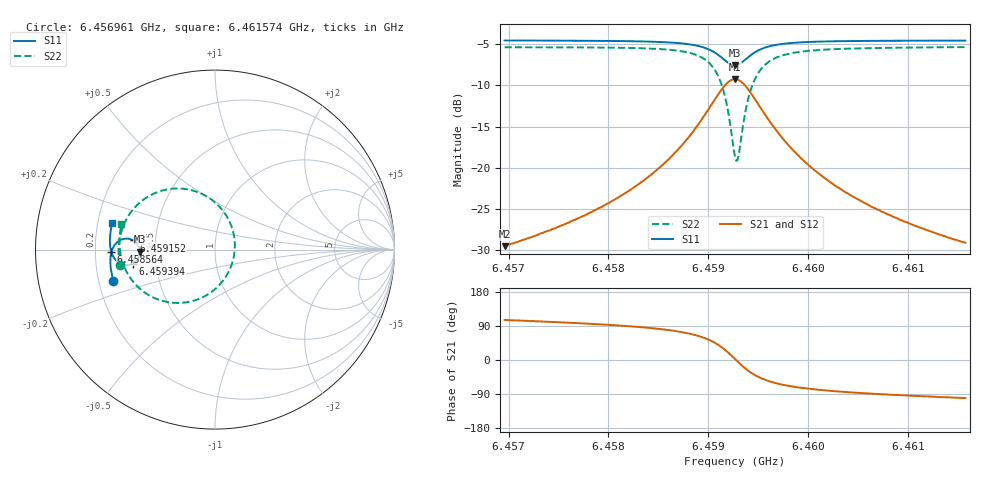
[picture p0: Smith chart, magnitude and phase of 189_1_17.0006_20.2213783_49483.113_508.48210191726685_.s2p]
#  HZ  S  RI  R  50.00
! Rohde & Schwarz Vector Network Analyzer
! Rohde-Schwarz,ZNB20-2Port,1311601062101988,3.16
! Created: UTC 3/20/2024, 11:00:28 PM
! freq[Hz]  re:S11  im:S11  re:S21  im:S21  re:S12  im:S12  re:S22  im:S22
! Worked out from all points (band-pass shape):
!   401 points, 6.456961 GHz to 6.461574 GHz, reference 50 ohm
!   highest |S21| = -9.25 dB at 6.459268 GHz (marker M1); lowest = -29.5 dB at 6.456961 GHz (marker M2)
!   |S21| within 3 dB of the highest: 6.459037 GHz to 6.459498 GHz (461.3 kHz wide, 0.00714 % of centre)
!   lowest |S11| = -7.6 dB at 6.459268 GHz (marker M3), VSWR 2.44, Z = 20.5 - j0.597 ohm
!   |S11| at or under -10 dB: nowhere
!   |S22| runs from -19.2 to -5.4 dB; largest |S21 - S12| = 0.013
!   S11 on the Smith chart (normalised r, x): 6.456961 GHz: 0.26, -0.14; 6.458564 GHz: 0.27, -0.01; 6.459152 GHz: 0.37, +0.05; 6.459394 GHz: 0.37, -0.07; 6.461574 GHz: 0.26, +0.12
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6.4569607e9  -0.5658 -0.1747  -0.00904 0.0322  -0.00738 0.0323  -0.5311 -0.0886
6.4577335e9  -0.5802 -0.1073  -0.00591 0.0501  -0.00329 0.0496  -0.5372 0.00161
6.4581833e9  -0.5832 -0.062  0.000584 0.0711  0.0038 0.0697  -0.5286 0.0733
6.4585063e9  -0.5796 -0.0232  0.0138 0.0987  0.0176 0.0959  -0.5047 0.1468
6.458564e9  -0.5778 -0.0152  0.018 0.1056  0.022 0.1024  -0.4966 0.1634
6.4587716e9  -0.5649 0.0169  0.0453 0.138  0.0495 0.1331  -0.4455 0.2363
6.4589215e9  -0.5425 0.0434  0.0903 0.1687  0.0937 0.1621  -0.3625 0.3012
6.4590599e9  -0.4987 0.0611  0.1775 0.1856  0.1783 0.1782  -0.2038 0.3405
6.4591522e9  -0.4539 0.0509  0.2675 0.1547  0.2677 0.1488  -0.0374 0.291
6.4592214e9  -0.4249 0.0189  0.328 0.0831  0.3302 0.0777  0.0782 0.1622
6.4592675e9  -0.4179 -0.012  0.3445 0.0153  0.3482 0.00832  0.1106 0.0357
6.4592791e9  -0.4184 -0.0201  0.3445 -0.00252  0.3482 -0.01  0.1102 0.00223
6.4593021e9  -0.4219 -0.0356  0.3388 -0.0371  0.3427 -0.0461  0.0994 -0.0635
6.4593483e9  -0.4374 -0.0618  0.3106 -0.0971  0.3128 -0.1087  0.0422 -0.1762
6.4593944e9  -0.4593 -0.078  0.2686 -0.1379  0.2678 -0.1512  -0.0423 -0.2511
6.4594867e9  -0.5027 -0.0849  0.1842 -0.1692  0.1781 -0.1807  -0.2102 -0.2974
6.4596366e9  -0.5466 -0.0644  0.0965 -0.1558  0.0881 -0.1619  -0.3773 -0.2487
6.4598096e9  -0.5692 -0.035  0.0495 -0.1262  0.0422 -0.1289  -0.4612 -0.1726
6.4600403e9  -0.581 -0.00129  0.0226 -0.0967  0.0169 -0.0975  -0.5058 -0.0953
6.4603748e9  -0.5857 0.0384  0.00688 -0.0707  0.00275 -0.0704  -0.5272 -0.0186
6.4608131e9  -0.5839 0.0824  -0.0012 -0.0517  -0.00398 -0.0509  -0.5319 0.0516
6.4615744e9  -0.5717 0.1498  -0.00648 -0.0346  -0.0081 -0.0336  -0.521 0.1415
